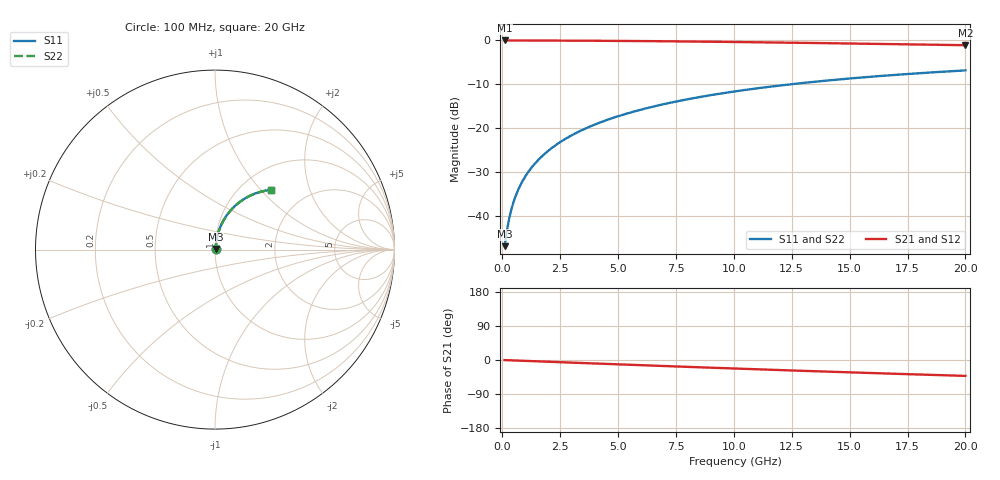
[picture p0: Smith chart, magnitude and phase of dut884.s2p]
! Touchstone file exported from HFSS 2026.1.0
!  File:  C:/ffzhzh/LocalFiles/Ansys_Project_Files/temp_train_TMRDL_884_1783157518_51560.aedt
!  Generated:  05:33:15 PM Jul  4, 2026
!  Design:  TMRDL
!  Project:  temp_train_TMRDL_884_1783157518_51560
! Variables:
!  h_bsmrdl = 2um
!  h_ox = 20um
!  h_rdl = 5um
!  h_sub = 80um
!  h_tmrdl = 2.95um
!  h_tsv = 80um
!  h_via = 3um
!  l_bsmrdl = 300um
!  l_sub = 943.42um
!  l_tmrdl = 543.42um
!  m_sub = 200um
!  pitch = 59.67um
!  r_tsv = 6um
!  s_tmrdl = 10um
!  w_bsmrdl = 18um
!  w_sub = 500um
!  w_tmrdl = 19.79um
!  x_tsv_center1 = 553.315um
!  x_tsv_center2 = 871.315um
!  x_tsv_center3 = 1434.525um
!  x_tsv_center4 = 1752.525um
!  x_tsv_center5 = 2315.735um
!  x_tsv_center6 = 2633.735um
# GHz S MA R 50.000000
! Terminal data exported
! Port[1] = TM_RDL1_1_T1
! Port[2] = TM_RDL1_1_T2
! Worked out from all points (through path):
!   200 points, 100 MHz to 20 GHz, reference 50 ohm
!   highest |S21| = -0.03 dB at 100 MHz (marker M1); lowest = -1.1 dB at 20 GHz (marker M2)
!   group delay of S21, straight-line fit = 5.84 ps
!   lowest |S11| = -46.8 dB at 100 MHz (marker M3), VSWR 1.01, Z = 50.4 + j0.297 ohm
!   |S11| at or under -10 dB: start of sweep to 12.44 GHz
!   |S22| runs from -46.8 to -6.8 dB; largest |S21 - S12| = 2.6e-15
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0.1  0.004583 40.1  0.9965 -0.2  0.9965 -0.2  0.004583 40.1
! Gamma 0 0 0 0
! Port Impedance 50 0 50 0
0.2  0.006903 58.2  0.9964 -0.5  0.9964 -0.5  0.006903 58.2
0.3  0.00953 66.4  0.9963 -0.7  0.9963 -0.7  0.00953 66.4
0.4  0.01223 70.8  0.9961 -1.0  0.9961 -1.0  0.01223 70.8
0.5  0.01494 73.6  0.996 -1.2  0.996 -1.2  0.01494 73.6
0.6  0.01766 75.4  0.9958 -1.4  0.9958 -1.4  0.01766 75.4
0.8  0.02311 77.8  0.9956 -1.9  0.9956 -1.9  0.02311 77.7
1.1  0.03131 79.5  0.9952 -2.6  0.9952 -2.6  0.03131 79.5
1.5  0.04228 80.5  0.9947 -3.5  0.9947 -3.5  0.04228 80.5
1.8  0.05052 80.7  0.9942 -4.2  0.9942 -4.2  0.05052 80.7
2.1  0.05876 80.7  0.9937 -4.9  0.9937 -4.9  0.05876 80.6
2.7  0.0752 80.1  0.9925 -6.3  0.9925 -6.3  0.07521 80.1
3.5  0.09699 79.0  0.9903 -8.1  0.9903 -8.1  0.09699 79.0
4.2  0.1159 77.7  0.9881 -9.7  0.9881 -9.7  0.1159 77.7
5  0.1372 76.2  0.985 -11.5  0.985 -11.5  0.1372 76.2
5.9  0.1608 74.4  0.9811 -13.5  0.9811 -13.5  0.1608 74.4
6.8  0.1839 72.5  0.9767 -15.5  0.9767 -15.5  0.1839 72.5
8.3  0.2213 69.4  0.9683 -18.8  0.9683 -18.8  0.2213 69.4
10.1  0.2641 65.7  0.9568 -22.7  0.9568 -22.7  0.2641 65.6
13.4  0.3363 59.1  0.9329 -29.5  0.9329 -29.5  0.3364 59.0
16.7  0.4001 52.8  0.9069 -35.9  0.9069 -35.9  0.4001 52.7
20  0.4554 46.9  0.8803 -41.9  0.8803 -41.9  0.4554 46.7
